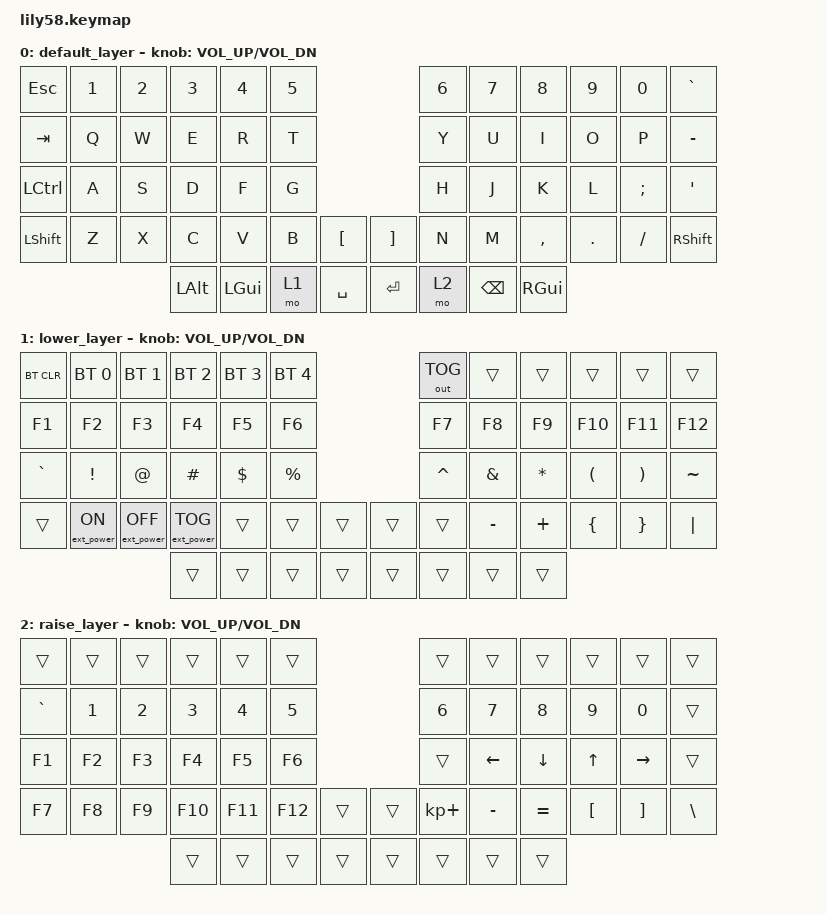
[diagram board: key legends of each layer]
/*
 * Copyright (c) 2020 The ZMK Contributors
 *
 * SPDX-License-Identifier: MIT
 */

#include <behaviors.dtsi>
#include <dt-bindings/zmk/keys.h>
#include <dt-bindings/zmk/bt.h>
#include <dt-bindings/zmk/outputs.h>
#include <dt-bindings/zmk/ext_power.h>

/* Переопределение матрицы для обхода сгоревшего пина 006 */
&kscan0 {
    col-gpios
        = <&gpio0 19 GPIO_ACTIVE_HIGH> // Столбец 0 (1/Q/A/Z)
        , <&gpio0 2  GPIO_ACTIVE_HIGH> // Столбец 1 (2/W/S/X) — ТЕПЕРЬ НА ПИНЕ 002
        , <&gpio0 17 GPIO_ACTIVE_HIGH> // Столбец 2 (3/E/D/C)
        , <&gpio0 20 GPIO_ACTIVE_HIGH> // Столбец 3 (4/R/F/V)
        , <&gpio0 22 GPIO_ACTIVE_HIGH> // Столбец 4 (5/T/G/B)
        , <&gpio0 24 GPIO_ACTIVE_HIGH> // Столбец 5 (6/Y/H/N и т.д.)
        ;
};

/ {
    keymap {
        compatible = "zmk,keymap";

        default_layer {
// ------------------------------------------------------------------------------------------------------------
// |  ESC  |  1  |  2  |  3   |  4   |  5   |                   |  6   |  7    |  8    |  9   |   0   |   `   |
// |  TAB  |  Q  |  W  |  E   |  R   |  T   |                   |  Y   |  U    |  I    |  O   |   P   |   -   |
// |  CTRL |  A  |  S  |  D   |  F   |  G   |                   |  H   |  J    |  K    |  L   |   ;   |   '   |
// | SHIFT |  Z  |  X  |  C   |  V   |  B   |   "["  |  |  "]"  |  N   |  M    |  ,    |  .   |   /   | SHIFT |
//                     | ALT  | GUI  | LOWER|  SPACE |  | ENTER | RAISE| BSPC  | GUI   |
            bindings = <
&kp ESC   &kp N1 &kp N2 &kp N3   &kp N4   &kp N5                     &kp N6 &kp N7   &kp N8    &kp N9  &kp N0   &kp GRAVE
&kp TAB   &kp Q  &kp W  &kp E    &kp R    &kp T                      &kp Y  &kp U    &kp I     &kp O   &kp P    &kp MINUS
&kp LCTRL &kp A  &kp S  &kp D    &kp F    &kp G                      &kp H  &kp J    &kp K     &kp L   &kp SEMI &kp SQT
&kp LSHFT &kp Z  &kp X  &kp C    &kp V    &kp B  &kp LBKT   &kp RBKT &kp N  &kp M    &kp COMMA &kp DOT &kp FSLH &kp RSHFT
                        &kp LALT &kp LGUI &mo 1  &kp SPACE  &kp RET  &mo 2  &kp BSPC &kp RGUI
            >;

            sensor-bindings = <&inc_dec_kp C_VOL_UP C_VOL_DN>;
        };

        lower_layer {
// ------------------------------------------------------------------------------------------------------------
// | BTCLR | BT1 | BT2 |  BT3 |  BT4 |  BT5 |                   |OUTTOG|       |       |      |       |       |
// |  F1   |  F2 |  F3 |  F4  |  F5  |  F6  |                   |  F7  |  F8   |  F9   |  F10 |  F11  |  F12  |
// |   `   |  !  |  @  |  #   |  $   |  %   |                   |  ^   |  &    |  *    |  (   |   )   |   ~   |
// |       |     |     |      |      |      |        |  |       |      |  _    |  +    |  {   |   }   |  "|"  |
//                     |      |      |      |        |  |       |      |       |       |
            bindings = <
&bt BT_CLR &bt BT_SEL 0     &bt BT_SEL 1      &bt BT_SEL 2      &bt BT_SEL 3 &bt BT_SEL 4                 &out OUT_TOG &trans    &trans    &trans    &trans    &trans
&kp F1     &kp F2           &kp F3            &kp F4            &kp F5       &kp F6                       &kp F7    &kp F8    &kp F9    &kp F10   &kp F11   &kp F12
&kp GRAVE  &kp EXCL         &kp AT            &kp HASH          &kp DOLLAR   &kp PRCNT                    &kp CARET &kp AMPS  &kp ASTRK &kp LPAR  &kp RPAR  &kp TILDE
&trans     &ext_power EP_ON &ext_power EP_OFF &ext_power EP_TOG &trans       &trans    &trans   &trans    &trans    &kp MINUS &kp PLUS  &kp LBRC  &kp RBRC  &kp PIPE
                                              &trans            &trans       &trans    &trans   &trans    &trans    &trans    &trans
            >;

            sensor-bindings = <&inc_dec_kp C_VOL_UP C_VOL_DN>;
        };

        raise_layer {
// ------------------------------------------------------------------------------------------------------------
// |       |     |     |      |      |      |                   |      |       |       |      |       |       |
// |   `   |  1  |  2  |  3   |  4   |  5   |                   |  6   |   7   |   8   |  9   |   0   |       |
// |   F1  |  F2 |  F3 |  F4  |  F5  |  F6  |                   |      |   <-  |   v   |  ^   |  ->   |       |
// |   F7  |  F8 |  F9 |  F10 |  F11 |  F12 |        |  |       |  +   |   -   |   =   |  [   |   ]   |   \   |
//                     |      |      |      |        |  |       |      |       |       |
            bindings = <
&trans    &trans &trans &trans  &trans  &trans                       &trans      &trans    &trans    &trans   &trans    &trans
&kp GRAVE &kp N1 &kp N2 &kp N3  &kp N4  &kp N5                       &kp N6      &kp N7    &kp N8    &kp N9   &kp N0    &trans
&kp F1    &kp F2 &kp F3 &kp F4  &kp F5  &kp F6                       &trans      &kp LEFT  &kp DOWN  &kp UP   &kp RIGHT &trans
&kp F7    &kp F8 &kp F9 &kp F10 &kp F11 &kp F12   &trans   &trans    &kp KP_PLUS &kp MINUS &kp EQUAL &kp LBKT &kp RBKT  &kp BSLH
                        &trans  &trans  &trans    &trans   &trans    &trans      &trans    &trans
            >;

            sensor-bindings = <&inc_dec_kp C_VOL_UP C_VOL_DN>;
        };
    };
};
